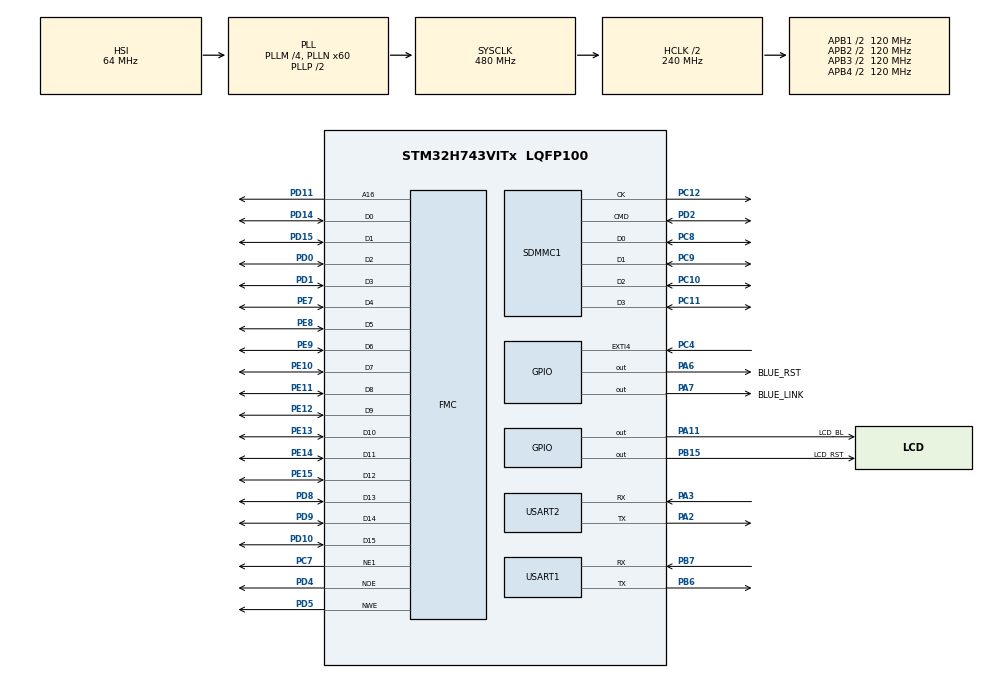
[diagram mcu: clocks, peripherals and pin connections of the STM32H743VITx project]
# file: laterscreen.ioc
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CORTEX_M7.default_mode_Activation=1
Mcu.Family=STM32H7
Mcu.Name=STM32H743VITx
Mcu.Package=LQFP100
NVIC.PriorityGroup=NVIC_PRIORITYGROUP_4
NVIC.TIM6_DAC_IRQn=true\:1\:0\:true\:false\:true\:true\:true\:true
NVIC.TIM7_IRQn=true\:1\:0\:true\:false\:true\:true\:true\:true
NVIC.USART1_IRQn=true\:0\:0\:true\:false\:true\:true\:true\:true
NVIC.USART2_IRQn=true\:1\:0\:true\:false\:true\:true\:true\:true
PA11.GPIO_Label=LCD_BL
PA11.Signal=GPIO_Output
PA13\ (JTMS/SWDIO).Mode=Serial_Wire
PA13\ (JTMS/SWDIO).Signal=DEBUG_JTMS-SWDIO
PA14\ (JTCK/SWCLK).Mode=Serial_Wire
PA14\ (JTCK/SWCLK).Signal=DEBUG_JTCK-SWCLK
PA2.Mode=Asynchronous
PA2.Signal=USART2_TX
PA3.Mode=Asynchronous
PA3.Signal=USART2_RX
PA6.GPIO_Label=BLUE_RST
PA6.Signal=GPIO_Output
PA7.GPIO_Label=BLUE_LINK
PA7.Signal=GPIO_Output
PB15.GPIO_Label=LCD_RST
PB15.Signal=GPIO_Output
PB6.Mode=Asynchronous
PB6.Signal=USART1_TX
PB7.Mode=Asynchronous
PB7.Signal=USART1_RX
PC10.Mode=SD_4_bits_Wide_bus
PC10.Signal=SDMMC1_D2
PC11.Mode=SD_4_bits_Wide_bus
PC11.Signal=SDMMC1_D3
PC12.Mode=SD_4_bits_Wide_bus
PC12.Signal=SDMMC1_CK
PC4.Signal=GPXTI4
PC7.Mode=NorPsramChipSelect1_1
PC7.Signal=FMC_NE1
PC8.Mode=SD_4_bits_Wide_bus
PC8.Signal=SDMMC1_D0
PC9.Mode=SD_4_bits_Wide_bus
PC9.Signal=SDMMC1_D1
PD0.Signal=FMC_D2_DA2
PD1.Signal=FMC_D3_DA3
PD10.Signal=FMC_D15_DA15
PD11.Signal=FMC_A16_CLE
PD14.Signal=FMC_D0_DA0
PD15.Signal=FMC_D1_DA1
PD2.Mode=SD_4_bits_Wide_bus
PD2.Signal=SDMMC1_CMD
PD4.Signal=FMC_NOE
PD5.Signal=FMC_NWE
PD8.Signal=FMC_D13_DA13
PD9.Signal=FMC_D14_DA14
PE10.Signal=FMC_D7_DA7
PE11.Signal=FMC_D8_DA8
PE12.Signal=FMC_D9_DA9
PE13.Signal=FMC_D10_DA10
PE14.Signal=FMC_D11_DA11
PE15.Signal=FMC_D12_DA12
PE7.Signal=FMC_D4_DA4
PE8.Signal=FMC_D5_DA5
PE9.Signal=FMC_D6_DA6
PH0-OSC_IN\ (PH0).Mode=HSE-External-Oscillator
PH0-OSC_IN\ (PH0).Signal=RCC_OSC_IN
PH1-OSC_OUT\ (PH1).Mode=HSE-External-Oscillator
PH1-OSC_OUT\ (PH1).Signal=RCC_OSC_OUT
ProjectManager.HeapSize=0x800
ProjectManager.StackSize=0x800
ProjectManager.TargetToolchain=MDK-ARM V5.32
RCC.ADCFreq_Value=129000000
RCC.APB1Freq_Value=120000000
RCC.APB2Freq_Value=120000000
RCC.APB3Freq_Value=120000000
RCC.APB4Freq_Value=120000000
RCC.CortexFreq_Value=480000000
RCC.D1PPRE=RCC_APB3_DIV2
RCC.D2PPRE1=RCC_APB1_DIV2
RCC.D2PPRE2=RCC_APB2_DIV2
RCC.D3PPRE=RCC_APB4_DIV2
RCC.DIVM1=4
RCC.DIVN1=60
RCC.DIVQ1=4
RCC.HCLKFreq_Value=240000000
RCC.HPRE=RCC_HCLK_DIV2
RCC.HSE_VALUE=12000000
RCC.PLL2FRACN=0
RCC.PLL3FRACN=0
RCC.PLLFRACN=0
RCC.SYSCLKFreq_VALUE=480000000
RCC.SYSCLKSource=RCC_SYSCLKSOURCE_PLLCLK
RCC.USBFreq_Value=240000000
SDMMC1.ClockDiv=10
SH.FMC_A16_CLE.0=FMC_A16,A16_1
SH.FMC_D0_DA0.0=FMC_D0,16b-d1
SH.FMC_D10_DA10.0=FMC_D10,16b-d1
SH.FMC_D11_DA11.0=FMC_D11,16b-d1
SH.FMC_D12_DA12.0=FMC_D12,16b-d1
SH.FMC_D13_DA13.0=FMC_D13,16b-d1
SH.FMC_D14_DA14.0=FMC_D14,16b-d1
SH.FMC_D15_DA15.0=FMC_D15,16b-d1
SH.FMC_D1_DA1.0=FMC_D1,16b-d1
SH.FMC_D2_DA2.0=FMC_D2,16b-d1
SH.FMC_D3_DA3.0=FMC_D3,16b-d1
SH.FMC_D4_DA4.0=FMC_D4,16b-d1
SH.FMC_D5_DA5.0=FMC_D5,16b-d1
SH.FMC_D6_DA6.0=FMC_D6,16b-d1
SH.FMC_D7_DA7.0=FMC_D7,16b-d1
SH.FMC_D8_DA8.0=FMC_D8,16b-d1
SH.FMC_D9_DA9.0=FMC_D9,16b-d1
SH.FMC_NOE.0=FMC_NOE,Lcd1
SH.FMC_NWE.0=FMC_NWE,Lcd1
TIM6.Period=49999
TIM6.Prescaler=4799
TIM7.Period=999
TIM7.Prescaler=239
USART1.VirtualMode-Asynchronous=VM_ASYNC
USART2.VirtualMode-Asynchronous=VM_ASYNC
VP_FATFS_VS_SDIO.Mode=SDIO
VP_MEMORYMAP_VS_MEMORYMAP.Mode=CurAppReg
VP_TIM6_VS_ClockSourceINT.Mode=Enable_Timer
VP_TIM7_VS_ClockSourceINT.Mode=Enable_Timer
board=custom

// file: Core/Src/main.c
/* USER CODE BEGIN Header */
/**
  ******************************************************************************
  * @file           : main.c
  * @brief          : Main program body
  ******************************************************************************
  * @attention
  *
  * Copyright (c) 2025 STMicroelectronics.
  * All rights reserved.
  *
  * This software is licensed under terms that can be found in the LICENSE file
  * in the root directory of this software component.
  * If no LICENSE file comes with this software, it is provided AS-IS.
  *
  ******************************************************************************
  */
/* USER CODE END Header */
#include "main.h"
#include "fatfs.h"
#include "memorymap.h"
#include "sdmmc.h"
#include "tim.h"
#include "usart.h"
#include "gpio.h"
#include "fmc.h"

/* USER CODE BEGIN Includes */
#include "tftlcd.h"
#include "stdio.h"
#include "file_operate.h"

#include "lvgl.h"
#include "lv_port_disp.h"
#include "lv_port_indev.h"

/* USER CODE END Includes */

/* USER CODE BEGIN PTD */
uint8_t framebuffer[307209];
UINT bytesRead;
uint8_t showtime = 0;

int picNum = 0;
int vdNum = 0;
int txNum = 0;

uint8_t IDLE_Rx[20];
FIL picFile;
FIL vdFile;
bool vdOn = 0;
bool rxFlag = 0;
uint8_t sxTime = 0;
void txtShow(void);
LV_FONT_DECLARE(lv_front_cn);

/* USER CODE END PTD */

/* USER CODE BEGIN PV */
void picShow(uint8_t num);
void vdShow(uint8_t num);
/* USER CODE END PV */

void SystemClock_Config(void);
static void MPU_Config(void);

int main(void)
{

  /* MPU Configuration--------------------------------------------------------*/
  MPU_Config();

  /* MCU Configuration--------------------------------------------------------*/

  /* Reset of all peripherals, Initializes the Flash interface and the Systick. */
  HAL_Init();

  /* Configure the system clock */
  SystemClock_Config();

  /* Initialize all configured peripherals */
  MX_GPIO_Init();
  MX_FMC_Init();
  MX_SDMMC1_SD_Init();
  MX_TIM7_Init();
  MX_USART1_UART_Init();
  MX_USART2_UART_Init();
  MX_FATFS_Init();
  MX_TIM6_Init();
  /* USER CODE BEGIN 2 */
	HAL_UARTEx_ReceiveToIdle_IT(&huart1,IDLE_Rx,15);
	lcd_init();
	lv_init();
	lv_port_disp_init();
	HAL_TIM_Base_Start_IT(&htim7);
	HAL_TIM_Base_Start_IT(&htim6);
	Mount_FatFs();
	FatFs_GetDiskInfo();
	HAL_Delay(100);

	if(f_open(&picFile, "0:qslogo.ebm", FA_READ) == FR_OK)
	{
		lv_obj_t * imgBg = lv_img_create(lv_scr_act());
		lv_img_dsc_t testimg = {
		.header.w = 480,
		.header.h = 320,
		.data_size = 307200,
		.header.cf = LV_IMG_CF_TRUE_COLOR,
		};
		lv_obj_align(imgBg,LV_ALIGN_CENTER, 0, 0);
		f_read(&picFile,framebuffer,307200,&bytesRead);
		testimg.data = framebuffer;
		lv_img_set_src(imgBg, &testimg);
		lv_timer_handler();
		f_close(&picFile);
		printf("ok\r\n");
	}

//	HAL_Delay(50);
//	HAL_UARTEx_ReceiveToIdle_IT(&huart1,IDLE_Rx,15);
  /* USER CODE END 2 */

  /* Infinite loop */
  /* USER CODE BEGIN WHILE */
  while (1)
  {
		picShow(picNum);
		vdShow(vdNum);
		HAL_Delay(5);
		if(rxFlag == 1)
		{
			LCD_BL(1);
			rxFlag = 0;
			lv_obj_clean(lv_scr_act());
			printf("%s\r\n",IDLE_Rx);
			txNum = 0;
			if(sscanf((char*)IDLE_Rx,"LsP:%d",&picNum) == 1)
			{
				showtime = 3;
				vdNum = 0;
			}
			else if(sscanf((char*)IDLE_Rx,"LsV:%d",&vdNum) == 1)
			{
				showtime = 0;
				vdOn = 1;
				picNum = 0;
			}
//			else if(sscanf((char*)IDLE_Rx,"LsT:%d",&txNum) == 1)
//			{
//				showtime = 0;
//				picNum = 0;
//				vdNum = 0;
//				//txtShow();
//			}
			memset(IDLE_Rx,0,20);
		}
		lv_timer_handler();
    /* USER CODE END WHILE */

  }
}

void SystemClock_Config(void)
{
  RCC_OscInitTypeDef RCC_OscInitStruct = {0};
  RCC_ClkInitTypeDef RCC_ClkInitStruct = {0};

  /** Supply configuration update enable
  */
  HAL_PWREx_ConfigSupply(PWR_LDO_SUPPLY);

  /** Configure the main internal regulator output voltage
  */
  __HAL_PWR_VOLTAGESCALING_CONFIG(PWR_REGULATOR_VOLTAGE_SCALE0);

  while(!__HAL_PWR_GET_FLAG(PWR_FLAG_VOSRDY)) {}

  /** Initializes the RCC Oscillators according to the specified parameters
  * in the RCC_OscInitTypeDef structure.
  */
  RCC_OscInitStruct.OscillatorType = RCC_OSCILLATORTYPE_HSI;
  RCC_OscInitStruct.HSIState = RCC_HSI_DIV1;
  RCC_OscInitStruct.HSICalibrationValue = RCC_HSICALIBRATION_DEFAULT;
  RCC_OscInitStruct.PLL.PLLState = RCC_PLL_ON;
  RCC_OscInitStruct.PLL.PLLSource = RCC_PLLSOURCE_HSI;
  RCC_OscInitStruct.PLL.PLLM = 4;
  RCC_OscInitStruct.PLL.PLLN = 60;
  RCC_OscInitStruct.PLL.PLLP = 2;
  RCC_OscInitStruct.PLL.PLLQ = 4;
  RCC_OscInitStruct.PLL.PLLR = 2;
  RCC_OscInitStruct.PLL.PLLRGE = RCC_PLL1VCIRANGE_3;
  RCC_OscInitStruct.PLL.PLLVCOSEL = RCC_PLL1VCOWIDE;
  RCC_OscInitStruct.PLL.PLLFRACN = 0;
  if (HAL_RCC_OscConfig(&RCC_OscInitStruct) != HAL_OK)
  {
    Error_Handler();
  }

  /** Initializes the CPU, AHB and APB buses clocks
  */
  RCC_ClkInitStruct.ClockType = RCC_CLOCKTYPE_HCLK|RCC_CLOCKTYPE_SYSCLK
                              |RCC_CLOCKTYPE_PCLK1|RCC_CLOCKTYPE_PCLK2
                              |RCC_CLOCKTYPE_D3PCLK1|RCC_CLOCKTYPE_D1PCLK1;
  RCC_ClkInitStruct.SYSCLKSource = RCC_SYSCLKSOURCE_PLLCLK;
  RCC_ClkInitStruct.SYSCLKDivider = RCC_SYSCLK_DIV1;
  RCC_ClkInitStruct.AHBCLKDivider = RCC_HCLK_DIV2;
  RCC_ClkInitStruct.APB3CLKDivider = RCC_APB3_DIV2;
  RCC_ClkInitStruct.APB1CLKDivider = RCC_APB1_DIV2;
  RCC_ClkInitStruct.APB2CLKDivider = RCC_APB2_DIV2;
  RCC_ClkInitStruct.APB4CLKDivider = RCC_APB4_DIV2;

  if (HAL_RCC_ClockConfig(&RCC_ClkInitStruct, FLASH_LATENCY_4) != HAL_OK)
  {
    Error_Handler();
  }
}

/* USER CODE BEGIN 4 */

void picShow(uint8_t num)
{
	if(showtime)
	{
		switch(num)
		{
			case 1:
				if(f_open(&picFile, "0:redAll.ebm", FA_READ) != FR_OK) {
					printf("file open fial\r\n");
					Mount_FatFs();
					f_open(&picFile, "0:redAll.ebm", FA_READ);
				}
				else
				{
					printf("file open ok\r\n");

				}
				break;

			case 2:
				if(f_open(&picFile, "0:redRight.ebm", FA_READ) != FR_OK) {
					printf("file open fial\r\n");
					Mount_FatFs();
					f_open(&picFile, "0:redRight.ebm", FA_READ);
				}
				else
				{
					printf("file open ok\r\n");

				}
				break;

			case 3:
				if(f_open(&picFile, "0:redLeft.ebm", FA_READ) != FR_OK) {
					printf("file open fial\r\n");
					Mount_FatFs();
					f_open(&picFile, "0:redLeft.ebm", FA_READ);
				}
				else
				{
					printf("file open ok\r\n");

				}
			  break;
			case 4:
				if(f_open(&picFile, "0:qslogo.ebm", FA_READ) != FR_OK) {
					printf("file open fial\r\n");
					Mount_FatFs();
					f_open(&picFile, "0:qslogo.ebm", FA_READ);
				}
				else
				{
					printf("file open ok\r\n");

				}
				break;
		}
		lv_obj_t * imgBg = lv_img_create(lv_scr_act());
		lv_img_dsc_t testimg = {
		.header.w = 480,
		.header.h = 320,
		.data_size = 307200,
		.header.cf = LV_IMG_CF_TRUE_COLOR,
		};
		lv_obj_align(imgBg,LV_ALIGN_CENTER, 0, 0);
		f_read(&picFile,framebuffer,307200,&bytesRead);
		testimg.data = framebuffer;
		lv_img_set_src(imgBg, &testimg);
		lv_timer_handler();
		f_close(&picFile);
		showtime--;
	}
}
void vdShow(uint8_t num)
{
	if(vdOn)
	{
		lcd_clear(BLACK);
		switch(num)
		{
			case 1:
				if(f_open(&vdFile, "0:all.ebm", FA_READ) != FR_OK) {
					printf("file open fial\r\n");
					Mount_FatFs();
					f_open(&vdFile, "0:all.ebm", FA_READ);
				}
				else
				{
					printf("file open ok\r\n");

				}
				break;
		}
		lv_obj_t * imgBg = lv_img_create(lv_scr_act());
		lv_img_dsc_t testimg = {
		.header.w = 480,
		.header.h = 298,
		.data_size = 286080,
		.header.cf = LV_IMG_CF_TRUE_COLOR,
		};
		lv_obj_align(imgBg,LV_ALIGN_CENTER, 0, 0);
		while(1)
		{
			if(picNum != 0 )
				break;
			f_read(&vdFile,framebuffer,286080,&bytesRead);
			if(bytesRead != 286080 || rxFlag == 1)break;
			testimg.data = framebuffer;
			lv_img_set_src(imgBg, &testimg);
			lv_timer_handler();
		}
		HAL_Delay(100);
		f_close(&vdFile);
		lv_obj_clean(lv_scr_act());
		vdOn = 0;

		showtime = 4;
		picNum = 4;

	}
}

void txtShow(void)
{
	lv_obj_t *scr = lv_scr_act();
	lv_obj_t *label = lv_label_create(scr);
	lv_label_set_text(label, "好消息今晚6点超市全场商品88折买得多送得多");
	lv_obj_set_size(label,480,320);
	lv_obj_set_style_text_font(label, &lv_front_cn, LV_PART_MAIN);
	lv_label_set_long_mode(label, LV_LABEL_LONG_SCROLL);
	lv_obj_set_style_anim_speed(label, 180, LV_PART_MAIN);
	lv_obj_set_pos(label,0,40);
}

void HAL_UARTEx_RxEventCallback(UART_HandleTypeDef *huart, uint16_t Size)
{
	if(huart->Instance == USART1)
	{
		if(Size == 5)
		{
			rxFlag = 1;
			sxTime = 10;
		}
	}
	HAL_UARTEx_ReceiveToIdle_IT(&huart1,IDLE_Rx,15);
}

void HAL_TIM_PeriodElapsedCallback(TIM_HandleTypeDef *htim)
{
	if(htim->Instance == TIM7)
	{
		lv_tick_inc(1);
	}
	else if(htim->Instance == TIM6 && sxTime)
	{
		if(picNum == 2 || picNum == 3)
		{
			LCD_BL(sxTime%2);
		}
		sxTime--;
		if(sxTime == 0 && vdOn == 0 && txNum == 0)
		{
			showtime = 3;
			picNum = 4;
		}
	}
}
/* USER CODE END 4 */

 /* MPU Configuration */

void MPU_Config(void)
{
  MPU_Region_InitTypeDef MPU_InitStruct = {0};

  /* Disables the MPU */
  HAL_MPU_Disable();

  /** Initializes and configures the Region and the memory to be protected
  */
  MPU_InitStruct.Enable = MPU_REGION_ENABLE;
  MPU_InitStruct.Number = MPU_REGION_NUMBER0;
  MPU_InitStruct.BaseAddress = 0x0;
  MPU_InitStruct.Size = MPU_REGION_SIZE_4GB;
  MPU_InitStruct.SubRegionDisable = 0x87;
  MPU_InitStruct.TypeExtField = MPU_TEX_LEVEL0;
  MPU_InitStruct.AccessPermission = MPU_REGION_NO_ACCESS;
  MPU_InitStruct.DisableExec = MPU_INSTRUCTION_ACCESS_DISABLE;
  MPU_InitStruct.IsShareable = MPU_ACCESS_SHAREABLE;
  MPU_InitStruct.IsCacheable = MPU_ACCESS_NOT_CACHEABLE;
  MPU_InitStruct.IsBufferable = MPU_ACCESS_NOT_BUFFERABLE;

  HAL_MPU_ConfigRegion(&MPU_InitStruct);
  /* Enables the MPU */
  HAL_MPU_Enable(MPU_PRIVILEGED_DEFAULT);

}

void Error_Handler(void)
{
  __disable_irq();
  while (1)
  {
  }
}
